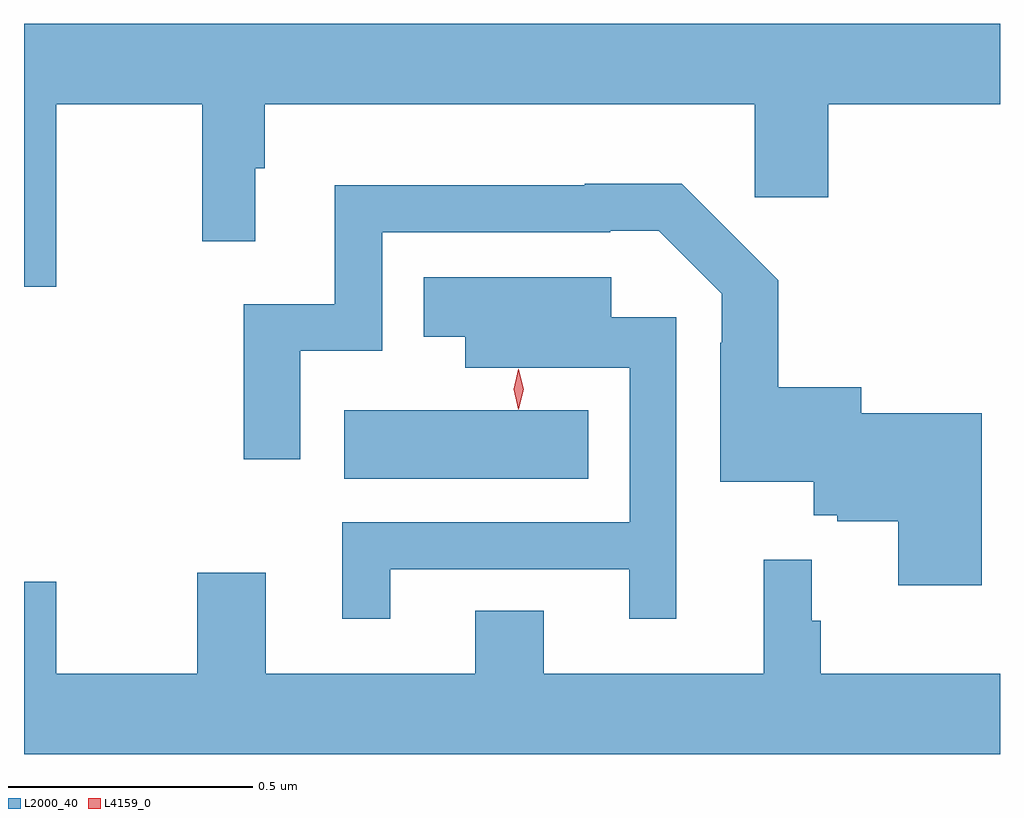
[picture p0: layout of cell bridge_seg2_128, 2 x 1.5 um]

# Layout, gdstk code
import gdstk
lib = gdstk.Library(unit=1e-6, precision=1e-09)
def R(c, l, rs):  # rectangles x0, y0, x1, y1
    for r in rs: c.add(gdstk.rectangle(r[:2], r[2:], *l))
def P(c, l, *ps):  # polygons
    for p in ps: c.add(gdstk.Polygon(p, *l))
L2000_40 = (2000, 40)
L4159_0 = (4159, 0)

bridge_seg2_128 = lib.new_cell('bridge_seg2_128')
R(bridge_seg2_128, L2000_40, [(393.534,641.54,394.034,641.68)])
P(bridge_seg2_128, L2000_40, [(392.944,642.308),(393.243,642.308),(393.243,642.027),(393.352,642.027),(393.352,642.176),(393.371,642.176),(393.371,642.308),(394.375,642.308),(394.375,642.117),(394.526,642.117),(394.526,642.308),(394.878,642.308),(394.878,642.472),(392.878,642.472),(392.878,641.934),(392.944,641.934)],
  [(394.841,641.674),(394.594,641.674),(394.594,641.728),(394.424,641.728),(394.424,641.947),(394.226,642.145),(394.027,642.145),(394.027,642.142),(393.515,642.142),(393.515,641.898),(393.328,641.898),(393.328,641.58),(393.444,641.58),(393.444,641.802),(393.612,641.802),(393.612,642.045),(394.079,642.045),(394.079,642.048),(394.179,642.048),(394.308,641.919),(394.308,641.819),(394.305,641.819),(394.305,641.534),(394.496,641.534),(394.496,641.465),(394.545,641.465),(394.545,641.453),(394.67,641.453),(394.67,641.322),(394.841,641.322)],
  [(393.628,641.355),(394.118,641.355),(394.118,641.253),(394.215,641.253),(394.215,641.871),(394.081,641.871),(394.081,641.953),(393.697,641.953),(393.697,641.831),(393.782,641.831),(393.782,641.768),(394.119,641.768),(394.119,641.451),(393.53,641.451),(393.53,641.253),(393.628,641.253)],
  [(394.878,641.14),(394.511,641.14),(394.511,641.249),(394.492,641.249),(394.492,641.374),(394.394,641.374),(394.394,641.14),(393.943,641.14),(393.943,641.27),(393.803,641.27),(393.803,641.14),(393.373,641.14),(393.373,641.347),(393.233,641.347),(393.233,641.14),(392.944,641.14),(392.944,641.329),(392.878,641.329),(392.878,640.976),(394.878,640.976)])
P(bridge_seg2_128, L4159_0, [(393.891,641.682),(393.882,641.723),(393.891,641.764),(393.892,641.764),(393.892,641.764),(393.902,641.723),(393.892,641.682),(393.892,641.682)])

lib.write_gds('bridge_seg2_128.gds')
